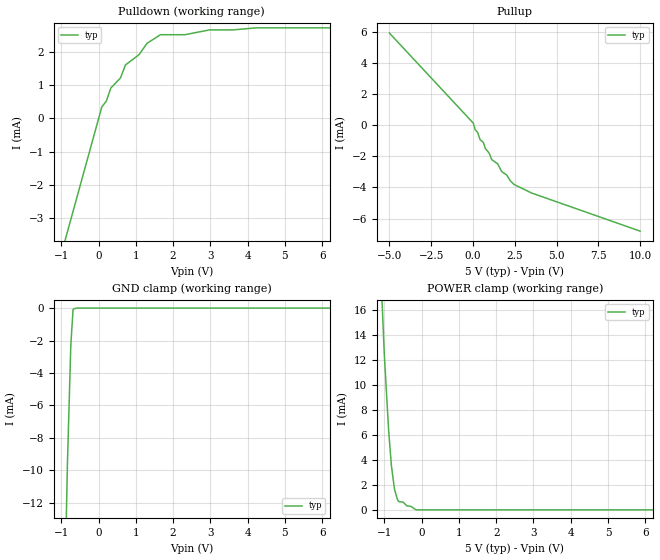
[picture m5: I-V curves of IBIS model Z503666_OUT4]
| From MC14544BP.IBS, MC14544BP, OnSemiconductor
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| (C) COPYRIGHT 1993-2000
| MENTOR GRAPHICS CORPORATION
| ICX STANDARD LIBRARY, ICX PROJECT MODELING,
| ICX CUSTOM MODELING, ICX VENDOR MODEL
| ALL RIGHTS RESERVED.
| THE FOLLOWING ARE TRADEMARKS OR SERVICE MARKS OF
| MENTOR GRAPHICS CORPORATION:ICX (R), ICX STANDARD
| LIBRARY(R), ICX PROJECT MODELING(R), ICX CUSTOM
| MODELING(R), qualityIBIS(TM), MODELVIEWER(TM),
| AND MODELEDITOR(TM)
| ALL COPIES OF SOFTWARE, INCLUDING BUT NOT LIMITED TO
| ANY MODIFICATIONS, ENHANCEMENTS OR DERIVATIVE WORKS,
| MUST CONTAIN ALL MENTOR GRAPHICS CORPORATION'S
| NOTICES AND LEGENDS, INCLUDING THOSE EMBEDDED IN
| SOFTWARE AND THOSE AFFIXED TO SOFTWARE MEDIUM
| AND CONTAINER, AS RECEIVED FROM MENTOR GRAPHICS
| CORPORATION.
| Model Application Version 1.89 2/18/99.
[Model] Z503666_OUT4
Model_type Output
Vref=0.000V
Rref=500.0Mohms
Cref=50.00pF
Vmeas=2.500V
C_comp 8.000pF NA NA
| variable typ   min   max
[Voltage Range] 5.000V NA NA
[POWER Clamp Reference] 5.000V NA NA
[Pullup Reference] 5.000V NA NA
[Pulldown Reference] 0.000V NA NA
[GND Clamp Reference] 0.000V NA NA
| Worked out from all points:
|   slope of the pulldown table from 0 to 0.75 V, typ, clamps not added: 458 ohm
|   slope of the pullup table from 0 to 0.75 V, typ, clamps not added: 451 ohm
|   GND clamp passes 1 mA (typ) near -0.71 V on its own axis
|   POWER clamp passes 1 mA (typ) near -0.67 V on its own axis
[GND Clamp]
-5V       -475.9mA   NA         NA
-834.7mV  -9.569mA   NA         NA
-745.4mV  -2.353mA   NA         NA
-683.7mV  -69.57uA   NA         NA
-598.2mV  0A         NA         NA
10V       0A         NA         NA
[Pulldown]
-5V       -20.34mA   NA         NA
86.75mV   345.6uA    NA         NA
207.4mV   517.8uA    NA         NA
329.4mV   915.6uA    NA         NA
586.8mV   1.214mA    NA         NA
722.7mV   1.609mA    NA         NA
1.084V    1.914mA    NA         NA
1.302V    2.259mA    NA         NA
1.661V    2.516mA    NA         NA
2.319V    2.516mA    NA         NA
4.234V    2.722mA    NA         NA
10V       2.722mA    NA         NA
[Pullup]
-5V       5.912mA    NA         NA
23mV      124.6uA    NA         NA
126mV     -281.3uA   NA         NA
286mV     -484.5uA   NA         NA
422mV     -923.9uA   NA         NA
621mV     -1.106mA   NA         NA
1.122V    -2.213mA   NA         NA
1.476V    -2.48mA    NA         NA
1.716V    -2.978mA   NA         NA
2.455V    -3.806mA   NA         NA
3.51V     -4.356mA   NA         NA
10V       -6.802mA   NA         NA
[POWER Clamp]
-5V       371.2mA    NA         NA
-1.185V   25.55mA    NA         NA
-1V       12.43mA    NA         NA
-884mV    6.361mA    NA         NA
-810mV    3.546mA    NA         NA
-728mV    1.669mA    NA         NA
-652mV    861.6uA    NA         NA
-614mV    661.4uA    NA         NA
-492mV    613uA      NA         NA
-395mV    319.5uA    NA         NA
-146.5mV  0A         NA         NA
10V       0A         NA         NA
[Ramp]
| variable typ min max
dV/dt_r 2.482/11.82n NA NA
dV/dt_f 2.482/14.07n NA NA
R_load = 2.500kOhms
